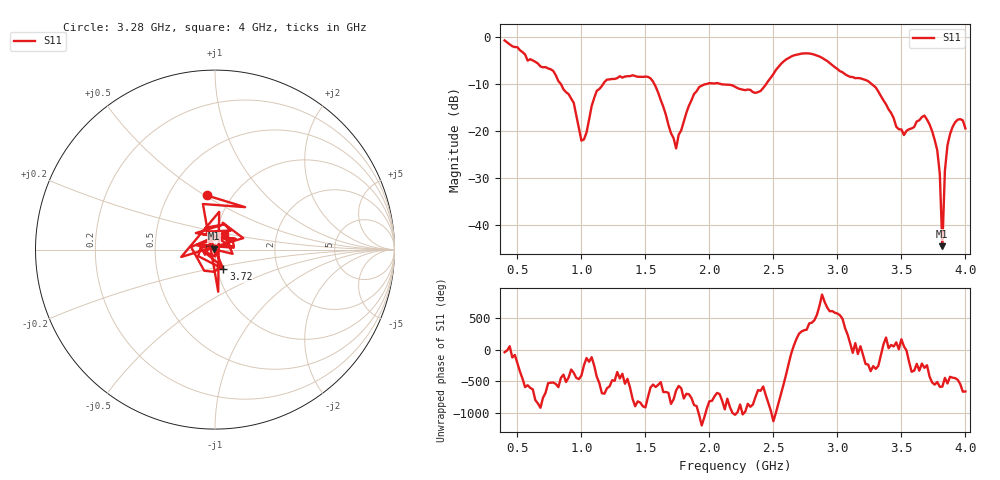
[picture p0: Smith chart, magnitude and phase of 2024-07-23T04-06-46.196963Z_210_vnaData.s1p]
!Created with skrf (http://scikit-rf.org).
# Hz S RI R 50.0
!freq ReS11 ImS11
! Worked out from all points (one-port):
!   181 points, 400 MHz to 4 GHz, reference 50 ohm
!   lowest |S11| = -44.4 dB at 3.82 GHz (marker M1), VSWR 1.01, Z = 49.6 + j0.431 ohm
!   |S11| at or under -10 dB: 1.569 GHz to 1.981 GHz (411.6 MHz wide, 23.2 % of centre); 2.088 GHz to 2.444 GHz (355.4 MHz wide, 15.7 % of centre); 3.267 GHz to end of sweep (the widest 3 of 4)
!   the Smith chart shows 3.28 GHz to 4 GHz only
!   S11 on the Smith chart (normalised r, x): 3.28 GHz: 0.76, +0.51; 3.72 GHz: 1.07, -0.24; 4 GHz: 1.10, +0.20
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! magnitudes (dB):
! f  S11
! 400 MHz  -0.8
! 780 MHz  -7.2
! 860 MHz  -11.1
! 940 MHz  -14.0
! 1 GHz  -22.0
! 1.12 GHz  -11.4
! 1.3 GHz  -8.4
! 1.54 GHz  -8.8
! 1.74 GHz  -23.7
! 1.76 GHz  -20.8
! 1.92 GHz  -10.7
! 2.2 GHz  -10.6
! 2.4 GHz  -11.5
! 2.66 GHz  -3.9
! 2.86 GHz  -4.2
! 3.1 GHz  -8.5
! 3.28 GHz  -10.3
! 3.46 GHz  -19.1
! 3.56 GHz  -19.6
! 3.68 GHz  -16.7
! 3.72 GHz  -18.6
! 3.78 GHz  -24.0
! 3.8 GHz  -29.0
! 3.82 GHz  -44.4
! 3.84 GHz  -28.4
! 3.86 GHz  -23.0
! 3.94 GHz  -17.6
! 4 GHz  -19.4
